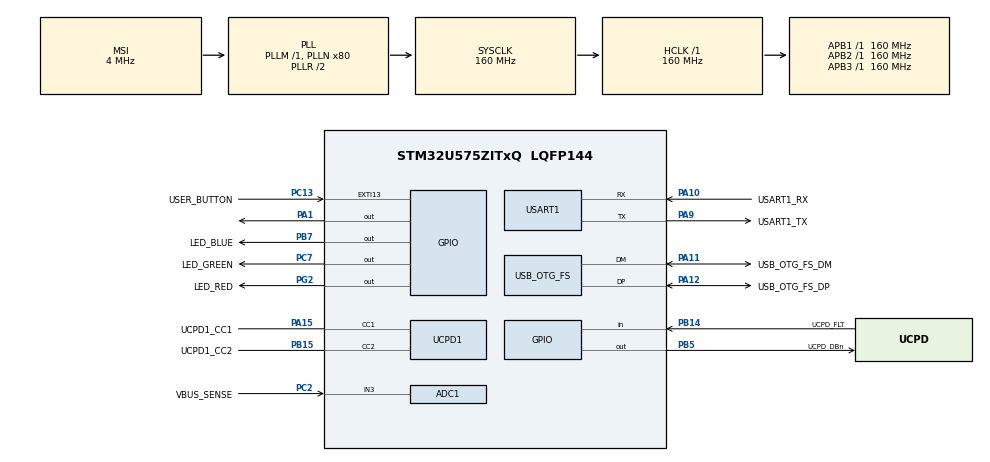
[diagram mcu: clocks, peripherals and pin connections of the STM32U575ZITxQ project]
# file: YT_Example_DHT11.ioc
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ADC1.NbrOfConversion=1
ADC1.Resolution=ADC_RESOLUTION_14B
ADC1.master=1
CORTEX_M33_NS.userName=CORTEX_M33
Mcu.Family=STM32U5
Mcu.Name=STM32U575ZITxQ
Mcu.Package=LQFP144
NVIC.OTG_FS_IRQn=true\:0\:0\:false\:false\:true\:true\:true\:true
NVIC.PriorityGroup=NVIC_PRIORITYGROUP_3
NVIC.USART1_IRQn=true\:0\:0\:false\:false\:true\:true\:true\:true
PA1.Signal=GPIO_Output
PA10.GPIO_Label=USART1_RX
PA10.GPIO_PuPd=GPIO_PULLDOWN
PA10.GPIO_Speed=GPIO_SPEED_FREQ_VERY_HIGH
PA10.Mode=Asynchronous
PA10.Signal=USART1_RX
PA11.GPIO_Label=USB_OTG_FS_DM
PA11.GPIO_Speed=GPIO_SPEED_FREQ_VERY_HIGH
PA11.Mode=Device_Only
PA11.Signal=USB_OTG_FS_DM
PA12.GPIO_Label=USB_OTG_FS_DP
PA12.GPIO_Speed=GPIO_SPEED_FREQ_VERY_HIGH
PA12.Mode=Device_Only
PA12.Signal=USB_OTG_FS_DP
PA13\ (JTMS/SWDIO).Mode=Trace_Asynchronous_SW
PA13\ (JTMS/SWDIO).Signal=DEBUG_JTMS-SWDIO
PA14\ (JTCK/SWCLK).Mode=Trace_Asynchronous_SW
PA14\ (JTCK/SWCLK).Signal=DEBUG_JTCK-SWCLK
PA15\ (JTDI).GPIO_Label=UCPD1_CC1
PA15\ (JTDI).Mode=Sink_AllSignals
PA15\ (JTDI).Signal=UCPD1_CC1
PA9.GPIO_Label=USART1_TX
PA9.GPIO_PuPd=GPIO_PULLDOWN
PA9.GPIO_Speed=GPIO_SPEED_FREQ_VERY_HIGH
PA9.Mode=Asynchronous
PA9.Signal=USART1_TX
PB14.GPIO_Label=UCPD_FLT
PB14.Signal=GPIO_Input
PB15.GPIO_Label=UCPD1_CC2
PB15.Mode=Sink_AllSignals
PB15.Signal=UCPD1_CC2
PB3\ (JTDO/TRACESWO).Mode=Trace_Asynchronous_SW
PB3\ (JTDO/TRACESWO).Signal=DEBUG_JTDO-SWO
PB5.GPIO_Label=UCPD_DBn
PB5.Signal=GPIO_Output
PB7.GPIO_Label=LED_BLUE
PB7.GPIO_ModeDefaultOutputPP=GPIO_MODE_OUTPUT_PP
PB7.GPIO_PuPd=GPIO_PULLUP
PB7.GPIO_Speed=GPIO_SPEED_FREQ_HIGH
PB7.Signal=GPIO_Output
PC13.GPIO_Label=USER_BUTTON
PC13.GPIO_ModeDefaultEXTI=GPIO_MODE_IT_FALLING
PC13.Signal=GPXTI13
PC14-OSC32_IN\ (PC14).Signal=RCC_OSC32_IN
PC15-OSC32_OUT\ (PC15).Signal=RCC_OSC32_OUT
PC2.GPIO_Label=VBUS_SENSE
PC2.Mode=IN3-Single-Ended
PC2.Signal=ADC1_IN3
PC7.GPIO_Label=LED_GREEN
PC7.GPIO_PuPd=GPIO_PULLUP
PC7.GPIO_Speed=GPIO_SPEED_FREQ_HIGH
PC7.Signal=GPIO_Output
PG2.GPIO_Label=LED_RED
PG2.GPIO_ModeDefaultOutputPP=GPIO_MODE_OUTPUT_PP
PG2.GPIO_PuPd=GPIO_PULLUP
PG2.GPIO_Speed=GPIO_SPEED_FREQ_HIGH
PG2.Signal=GPIO_Output
PH0-OSC_IN\ (PH0).Mode=HSE-External-Oscillator
PH0-OSC_IN\ (PH0).Signal=RCC_OSC_IN
PH1-OSC_OUT\ (PH1).Mode=HSE-External-Oscillator
PH1-OSC_OUT\ (PH1).Signal=RCC_OSC_OUT
PWR.PowerMode=PWR_SMPS_SUPPLY
ProjectManager.HeapSize=0x200
ProjectManager.StackSize=0x400
ProjectManager.TargetToolchain=STM32CubeIDE
RCC.ADCFreq_Value=16000000
RCC.AHBFreq_Value=160000000
RCC.APB1Freq_Value=160000000
RCC.APB1TimFreq_Value=160000000
RCC.APB2Freq_Value=160000000
RCC.APB2TimFreq_Value=160000000
RCC.APB3Freq_Value=160000000
RCC.CortexFreq_Value=160000000
RCC.DACCLockSelectionVirtual=RCC_DAC1CLKSOURCE_LSI
RCC.EPOD_VALUE=4000000
RCC.HCLKFreq_Value=160000000
RCC.HSE_VALUE=16000000
RCC.HSI48_VALUE=48000000
RCC.HSI_VALUE=16000000
RCC.LSE_VALUE=32768
RCC.LSIDIV_VALUE=32000
RCC.MSI_VALUE=4000000
RCC.PLL2FRACN=0
RCC.PLL3FRACN=0
RCC.PLLFRACN=0
RCC.PLLN=80
RCC.SYSCLKFreq_VALUE=160000000
RCC.SYSCLKSource=RCC_SYSCLKSOURCE_PLLCLK
RCC.USBFreq_Value=48000000
RCC.VCOOutputFreq_Value=320000000
TIM6.Prescaler=159
USART1.VirtualMode-Asynchronous=VM_ASYNC
USB_OTG_FS.VirtualMode=Device_Only
VP_ICACHE_VS_ENABLE_ICACHE_MEMORY.Mode=Memoryregions
VP_ICACHE_VS_ICACHE.Mode=DirectMappedCache
VP_LPBAMQUEUE_VS_QUEUE.Mode=QUEUEMODE
VP_LPBAM_VS_SIG1.Mode=SmartRun
VP_LPBAM_VS_SIG4.Mode=LPDMA1
VP_MEMORYMAP_VS_MEMORYMAP.Mode=CurAppReg
VP_PWR_VS_DBSignals.Mode=DisableDeadBatterySignals
VP_PWR_VS_LPOM.Mode=PowerOptimisation
VP_PWR_VS_SECSignals.Mode=Security/Privilege
VP_PWR_Vdda.Mode=isolationVdda
VP_TIM6_VS_ClockSourceINT.Mode=Enable_Timer
board=NUCLEO-U575ZI-Q

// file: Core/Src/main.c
/* USER CODE BEGIN Header */
/**
  ******************************************************************************
  * @file           : main.c
  * @brief          : Main program body
  ******************************************************************************
  * @attention
  *
  * Copyright (c) 2024 STMicroelectronics.
  * All rights reserved.
  *
  * This software is licensed under terms that can be found in the LICENSE file
  * in the root directory of this software component.
  * If no LICENSE file comes with this software, it is provided AS-IS.
  *
  ******************************************************************************
  */
/* USER CODE END Header */
#include "main.h"

/* USER CODE BEGIN Includes */
#include <stdio.h>
/* USER CODE END Includes */

ADC_HandleTypeDef hadc1;

TIM_HandleTypeDef htim6;

UART_HandleTypeDef huart1;

PCD_HandleTypeDef hpcd_USB_OTG_FS;

void SystemClock_Config(void);
static void SystemPower_Config(void);
static void MX_GPIO_Init(void);
static void MX_ADC1_Init(void);
static void MX_ICACHE_Init(void);
static void MX_UCPD1_Init(void);
static void MX_USART1_UART_Init(void);
static void MX_USB_OTG_FS_PCD_Init(void);
static void MX_TIM6_Init(void);
/* USER CODE BEGIN PFP */

/* Retargets the C library printf function to the USART. */
#include <stdio.h>
#ifdef __GNUC__
int __io_putchar(int ch)
#else
int fputc(int ch, FILE *f)
#endif
{
    HAL_UART_Transmit(&huart1, (uint8_t *)&ch, 1, 0xFFFF);

    return ch;
}
#ifdef __GNUC__
int _write(int file,char *ptr, int len)
{
    int DataIdx;
    for (DataIdx= 0; DataIdx< len; DataIdx++) {
        __io_putchar(*ptr++);
    }
    return len;
}
#endif

/* USER CODE END PFP */

/* USER CODE BEGIN 0 */

/* Function to create delay in microseconds */
void delay(uint16_t time) {
	__HAL_TIM_SET_COUNTER(&htim6, 0); // set the timer to 0
	while ((__HAL_TIM_GET_COUNTER(&htim6)) < time); // wait until the timer reaches the specified value
}

uint8_t Rh_byte1, Rh_byte2, Temp_byte1, Temp_byte2;
uint16_t SUM, RH, TEMP;

float Temperature = 0;
float Humidity = 0;
uint8_t Presence = 0;

/* Functions to set the Pin as input or output as needed*/
void Set_Pin_Output(GPIO_TypeDef *GPIOx, uint16_t GPIO_Pin) {

	GPIO_InitTypeDef GPIO_InitStruct = {0};
	GPIO_InitStruct.Pin = GPIO_Pin;
	GPIO_InitStruct.Mode = GPIO_MODE_OUTPUT_PP;
	GPIO_InitStruct.Speed = GPIO_SPEED_FREQ_LOW;
	HAL_GPIO_Init(GPIOx, &GPIO_InitStruct);
}

void Set_Pin_Input(GPIO_TypeDef *GPIOx, uint16_t GPIO_Pin) {

	GPIO_InitTypeDef GPIO_InitStruct = {0};
	GPIO_InitStruct.Pin = GPIO_Pin;
	GPIO_InitStruct.Mode = GPIO_MODE_INPUT;
	GPIO_InitStruct.Speed = GPIO_NOPULL; // prova a cambiare in PULLUP se non ricevo dati
	HAL_GPIO_Init(GPIOx, &GPIO_InitStruct);
}

/********************************* DHT11 FUNCTIONS ********************************************/

#define DHT11_PORT GPIOA
#define DHT11_PIN GPIO_PIN_1

void DHT11_Start (void) {
	Set_Pin_Output(DHT11_PORT, DHT11_PIN); // set the pin as output
	HAL_GPIO_WritePin(DHT11_PORT, DHT11_PIN, 0);   // pull the pin low
	delay (18000);   // wait for 18ms
	HAL_GPIO_WritePin(DHT11_PORT, DHT11_PIN, 1); // pull the pin high
	delay(20); // wait for 20us
	Set_Pin_Input(DHT11_PORT, DHT11_PIN);    // set as input
}

uint8_t Check_Response (void) {
	uint8_t Response = 0;
	delay (40);
	if (!(HAL_GPIO_ReadPin (DHT11_PORT, DHT11_PIN)))
	{
		delay (80);
		if ((HAL_GPIO_ReadPin (DHT11_PORT, DHT11_PIN))) Response = 1;
		else Response = -1; // 255
	}
	while ((HAL_GPIO_ReadPin (DHT11_PORT, DHT11_PIN)));   // wait for the pin to go low

	return Response;
}

uint8_t DHT11_Read (void)
{
	uint8_t i,j;
	for (j=0;j<8;j++)
	{
		while (!(HAL_GPIO_ReadPin (DHT11_PORT, DHT11_PIN)));   // wait for the pin to go high
		delay (40);   // wait for 40 us
		if (!(HAL_GPIO_ReadPin (DHT11_PORT, DHT11_PIN)))   // if the pin is low
		{
			i&= ~(1<<(7-j));   // write 0
		}
		else i|= (1<<(7-j));  // if the pin is high, write 1
		while ((HAL_GPIO_ReadPin (DHT11_PORT, DHT11_PIN)));  // wait for the pin to go low
	}
	return i;
}

/* USER CODE END 0 */

int main(void)
{

  /* USER CODE BEGIN 1 */
	/* Turn off buffers, so I/O occurs immediately */
	    setvbuf(stdin, NULL, _IONBF, 0);
	    setvbuf(stdout, NULL, _IONBF, 0);
	    setvbuf(stderr, NULL, _IONBF, 0);
  /* USER CODE END 1 */

  /* MCU Configuration--------------------------------------------------------*/

  /* Reset of all peripherals, Initializes the Flash interface and the Systick. */
  HAL_Init();

  /* Configure the system clock */
  SystemClock_Config();

  /* Configure the System Power */
  SystemPower_Config();

  /* Initialize all configured peripherals */
  MX_GPIO_Init();
  MX_ADC1_Init();
  MX_ICACHE_Init();
  MX_UCPD1_Init();
  MX_USART1_UART_Init();
  MX_USB_OTG_FS_PCD_Init();
  MX_TIM6_Init();
  /* USER CODE BEGIN 2 */
  HAL_TIM_Base_Start(&htim6);
  printf("INITIALISING>>>>\r\n");
  HAL_Delay(2000);
  /* USER CODE END 2 */

  /* Infinite loop */
  while (1)
  {

    /* USER CODE BEGIN 3 */

	  DHT11_Start();
	  Presence = Check_Response();
	  Rh_byte1 = DHT11_Read();
	  Rh_byte2 = DHT11_Read();
	  Temp_byte1 = DHT11_Read();
	  Temp_byte2 = DHT11_Read();
	  SUM = DHT11_Read();

	  TEMP = Temp_byte1;
	  RH = Rh_byte1;
  }
  /* USER CODE END 3 */
}

void SystemClock_Config(void)
{
  RCC_OscInitTypeDef RCC_OscInitStruct = {0};
  RCC_ClkInitTypeDef RCC_ClkInitStruct = {0};

  /** Configure the main internal regulator output voltage
  */
  if (HAL_PWREx_ControlVoltageScaling(PWR_REGULATOR_VOLTAGE_SCALE1) != HAL_OK)
  {
    Error_Handler();
  }

  /** Initializes the CPU, AHB and APB buses clocks
  */
  RCC_OscInitStruct.OscillatorType = RCC_OSCILLATORTYPE_HSI48|RCC_OSCILLATORTYPE_HSI
                              |RCC_OSCILLATORTYPE_MSI;
  RCC_OscInitStruct.HSIState = RCC_HSI_ON;
  RCC_OscInitStruct.HSI48State = RCC_HSI48_ON;
  RCC_OscInitStruct.HSICalibrationValue = RCC_HSICALIBRATION_DEFAULT;
  RCC_OscInitStruct.MSIState = RCC_MSI_ON;
  RCC_OscInitStruct.MSICalibrationValue = RCC_MSICALIBRATION_DEFAULT;
  RCC_OscInitStruct.MSIClockRange = RCC_MSIRANGE_4;
  RCC_OscInitStruct.PLL.PLLState = RCC_PLL_ON;
  RCC_OscInitStruct.PLL.PLLSource = RCC_PLLSOURCE_MSI;
  RCC_OscInitStruct.PLL.PLLMBOOST = RCC_PLLMBOOST_DIV1;
  RCC_OscInitStruct.PLL.PLLM = 1;
  RCC_OscInitStruct.PLL.PLLN = 80;
  RCC_OscInitStruct.PLL.PLLP = 2;
  RCC_OscInitStruct.PLL.PLLQ = 2;
  RCC_OscInitStruct.PLL.PLLR = 2;
  RCC_OscInitStruct.PLL.PLLRGE = RCC_PLLVCIRANGE_0;
  RCC_OscInitStruct.PLL.PLLFRACN = 0;
  if (HAL_RCC_OscConfig(&RCC_OscInitStruct) != HAL_OK)
  {
    Error_Handler();
  }

  /** Initializes the CPU, AHB and APB buses clocks
  */
  RCC_ClkInitStruct.ClockType = RCC_CLOCKTYPE_HCLK|RCC_CLOCKTYPE_SYSCLK
                              |RCC_CLOCKTYPE_PCLK1|RCC_CLOCKTYPE_PCLK2
                              |RCC_CLOCKTYPE_PCLK3;
  RCC_ClkInitStruct.SYSCLKSource = RCC_SYSCLKSOURCE_PLLCLK;
  RCC_ClkInitStruct.AHBCLKDivider = RCC_SYSCLK_DIV1;
  RCC_ClkInitStruct.APB1CLKDivider = RCC_HCLK_DIV1;
  RCC_ClkInitStruct.APB2CLKDivider = RCC_HCLK_DIV1;
  RCC_ClkInitStruct.APB3CLKDivider = RCC_HCLK_DIV1;

  if (HAL_RCC_ClockConfig(&RCC_ClkInitStruct, FLASH_LATENCY_4) != HAL_OK)
  {
    Error_Handler();
  }
}

/**
  * @brief Power Configuration
  * @retval None
  */
static void SystemPower_Config(void)
{
  HAL_PWREx_EnableVddIO2();

  /*
   * Switch to SMPS regulator instead of LDO
   */
  if (HAL_PWREx_ConfigSupply(PWR_SMPS_SUPPLY) != HAL_OK)
  {
    Error_Handler();
  }
}

static void MX_ADC1_Init(void)
{

  /** Common config
  */
  hadc1.Instance = ADC1;
  hadc1.Init.ClockPrescaler = ADC_CLOCK_ASYNC_DIV1;
  hadc1.Init.Resolution = ADC_RESOLUTION_14B;
  hadc1.Init.GainCompensation = 0;
  hadc1.Init.ScanConvMode = ADC_SCAN_DISABLE;
  hadc1.Init.EOCSelection = ADC_EOC_SINGLE_CONV;
  hadc1.Init.LowPowerAutoWait = DISABLE;
  hadc1.Init.ContinuousConvMode = DISABLE;
  hadc1.Init.NbrOfConversion = 1;
  hadc1.Init.DiscontinuousConvMode = DISABLE;
  hadc1.Init.DMAContinuousRequests = DISABLE;
  hadc1.Init.TriggerFrequencyMode = ADC_TRIGGER_FREQ_HIGH;
  hadc1.Init.Overrun = ADC_OVR_DATA_PRESERVED;
  hadc1.Init.LeftBitShift = ADC_LEFTBITSHIFT_NONE;
  hadc1.Init.ConversionDataManagement = ADC_CONVERSIONDATA_DR;
  hadc1.Init.OversamplingMode = DISABLE;
  if (HAL_ADC_Init(&hadc1) != HAL_OK)
  {
    Error_Handler();
  }

}

static void MX_ICACHE_Init(void)
{

  /** Enable instruction cache in 1-way (direct mapped cache)
  */
  if (HAL_ICACHE_ConfigAssociativityMode(ICACHE_1WAY) != HAL_OK)
  {
    Error_Handler();
  }
  if (HAL_ICACHE_Enable() != HAL_OK)
  {
    Error_Handler();
  }

}

static void MX_TIM6_Init(void)
{

  TIM_MasterConfigTypeDef sMasterConfig = {0};

  htim6.Instance = TIM6;
  htim6.Init.Prescaler = 159;
  htim6.Init.CounterMode = TIM_COUNTERMODE_UP;
  htim6.Init.Period = 65535;
  htim6.Init.AutoReloadPreload = TIM_AUTORELOAD_PRELOAD_DISABLE;
  if (HAL_TIM_Base_Init(&htim6) != HAL_OK)
  {
    Error_Handler();
  }
  sMasterConfig.MasterOutputTrigger = TIM_TRGO_RESET;
  sMasterConfig.MasterSlaveMode = TIM_MASTERSLAVEMODE_DISABLE;
  if (HAL_TIMEx_MasterConfigSynchronization(&htim6, &sMasterConfig) != HAL_OK)
  {
    Error_Handler();
  }

}

static void MX_UCPD1_Init(void)
{

  LL_GPIO_InitTypeDef GPIO_InitStruct = {0};

  /* Peripheral clock enable */
  LL_APB1_GRP2_EnableClock(LL_APB1_GRP2_PERIPH_UCPD1);

  LL_AHB2_GRP1_EnableClock(LL_AHB2_GRP1_PERIPH_GPIOB);
  LL_AHB2_GRP1_EnableClock(LL_AHB2_GRP1_PERIPH_GPIOA);
  /**UCPD1 GPIO Configuration
  PB15   ------> UCPD1_CC2
  PA15 (JTDI)   ------> UCPD1_CC1
  */
  GPIO_InitStruct.Pin = LL_GPIO_PIN_15;
  GPIO_InitStruct.Mode = LL_GPIO_MODE_ANALOG;
  GPIO_InitStruct.Pull = LL_GPIO_PULL_NO;
  LL_GPIO_Init(GPIOB, &GPIO_InitStruct);

  GPIO_InitStruct.Pin = LL_GPIO_PIN_15;
  GPIO_InitStruct.Mode = LL_GPIO_MODE_ANALOG;
  GPIO_InitStruct.Pull = LL_GPIO_PULL_NO;
  LL_GPIO_Init(GPIOA, &GPIO_InitStruct);

}

static void MX_USART1_UART_Init(void)
{

  huart1.Instance = USART1;
  huart1.Init.BaudRate = 115200;
  huart1.Init.WordLength = UART_WORDLENGTH_8B;
  huart1.Init.StopBits = UART_STOPBITS_1;
  huart1.Init.Parity = UART_PARITY_NONE;
  huart1.Init.Mode = UART_MODE_TX_RX;
  huart1.Init.HwFlowCtl = UART_HWCONTROL_NONE;
  huart1.Init.OverSampling = UART_OVERSAMPLING_16;
  huart1.Init.OneBitSampling = UART_ONE_BIT_SAMPLE_DISABLE;
  huart1.Init.ClockPrescaler = UART_PRESCALER_DIV1;
  huart1.AdvancedInit.AdvFeatureInit = UART_ADVFEATURE_NO_INIT;
  if (HAL_UART_Init(&huart1) != HAL_OK)
  {
    Error_Handler();
  }
  if (HAL_UARTEx_SetTxFifoThreshold(&huart1, UART_TXFIFO_THRESHOLD_1_8) != HAL_OK)
  {
    Error_Handler();
  }
  if (HAL_UARTEx_SetRxFifoThreshold(&huart1, UART_RXFIFO_THRESHOLD_1_8) != HAL_OK)
  {
    Error_Handler();
  }
  if (HAL_UARTEx_DisableFifoMode(&huart1) != HAL_OK)
  {
    Error_Handler();
  }

}

static void MX_USB_OTG_FS_PCD_Init(void)
{

  hpcd_USB_OTG_FS.Instance = USB_OTG_FS;
  hpcd_USB_OTG_FS.Init.dev_endpoints = 6;
  hpcd_USB_OTG_FS.Init.speed = PCD_SPEED_FULL;
  hpcd_USB_OTG_FS.Init.phy_itface = PCD_PHY_EMBEDDED;
  hpcd_USB_OTG_FS.Init.Sof_enable = DISABLE;
  hpcd_USB_OTG_FS.Init.low_power_enable = DISABLE;
  hpcd_USB_OTG_FS.Init.lpm_enable = DISABLE;
  hpcd_USB_OTG_FS.Init.battery_charging_enable = DISABLE;
  hpcd_USB_OTG_FS.Init.use_dedicated_ep1 = DISABLE;
  hpcd_USB_OTG_FS.Init.vbus_sensing_enable = DISABLE;
  hpcd_USB_OTG_FS.Init.dma_enable = DISABLE;
  if (HAL_PCD_Init(&hpcd_USB_OTG_FS) != HAL_OK)
  {
    Error_Handler();
  }

}

static void MX_GPIO_Init(void)
{
  GPIO_InitTypeDef GPIO_InitStruct = {0};

  /* GPIO Ports Clock Enable */
  __HAL_RCC_GPIOC_CLK_ENABLE();
  __HAL_RCC_GPIOH_CLK_ENABLE();
  __HAL_RCC_GPIOA_CLK_ENABLE();
  __HAL_RCC_GPIOB_CLK_ENABLE();
  __HAL_RCC_GPIOG_CLK_ENABLE();

  /*Configure GPIO pin Output Level */
  HAL_GPIO_WritePin(GPIOA, GPIO_PIN_1, GPIO_PIN_RESET);

  /*Configure GPIO pin Output Level */
  HAL_GPIO_WritePin(LED_RED_GPIO_Port, LED_RED_Pin, GPIO_PIN_RESET);

  /*Configure GPIO pin Output Level */
  HAL_GPIO_WritePin(LED_GREEN_GPIO_Port, LED_GREEN_Pin, GPIO_PIN_RESET);

  /*Configure GPIO pin Output Level */
  HAL_GPIO_WritePin(GPIOB, UCPD_DBn_Pin|LED_BLUE_Pin, GPIO_PIN_RESET);

  /*Configure GPIO pin : USER_BUTTON_Pin */
  GPIO_InitStruct.Pin = USER_BUTTON_Pin;
  GPIO_InitStruct.Mode = GPIO_MODE_IT_FALLING;
  GPIO_InitStruct.Pull = GPIO_NOPULL;
  HAL_GPIO_Init(USER_BUTTON_GPIO_Port, &GPIO_InitStruct);

  /*Configure GPIO pin : PA1 */
  GPIO_InitStruct.Pin = GPIO_PIN_1;
  GPIO_InitStruct.Mode = GPIO_MODE_OUTPUT_PP;
  GPIO_InitStruct.Pull = GPIO_NOPULL;
  GPIO_InitStruct.Speed = GPIO_SPEED_FREQ_LOW;
  HAL_GPIO_Init(GPIOA, &GPIO_InitStruct);

  /*Configure GPIO pin : UCPD_FLT_Pin */
  GPIO_InitStruct.Pin = UCPD_FLT_Pin;
  GPIO_InitStruct.Mode = GPIO_MODE_INPUT;
  GPIO_InitStruct.Pull = GPIO_NOPULL;
  HAL_GPIO_Init(UCPD_FLT_GPIO_Port, &GPIO_InitStruct);

  /*Configure GPIO pin : LED_RED_Pin */
  GPIO_InitStruct.Pin = LED_RED_Pin;
  GPIO_InitStruct.Mode = GPIO_MODE_OUTPUT_PP;
  GPIO_InitStruct.Pull = GPIO_PULLUP;
  GPIO_InitStruct.Speed = GPIO_SPEED_FREQ_HIGH;
  HAL_GPIO_Init(LED_RED_GPIO_Port, &GPIO_InitStruct);

  /*Configure GPIO pin : LED_GREEN_Pin */
  GPIO_InitStruct.Pin = LED_GREEN_Pin;
  GPIO_InitStruct.Mode = GPIO_MODE_OUTPUT_PP;
  GPIO_InitStruct.Pull = GPIO_PULLUP;
  GPIO_InitStruct.Speed = GPIO_SPEED_FREQ_HIGH;
  HAL_GPIO_Init(LED_GREEN_GPIO_Port, &GPIO_InitStruct);

  /*Configure GPIO pin : UCPD_DBn_Pin */
  GPIO_InitStruct.Pin = UCPD_DBn_Pin;
  GPIO_InitStruct.Mode = GPIO_MODE_OUTPUT_PP;
  GPIO_InitStruct.Pull = GPIO_NOPULL;
  GPIO_InitStruct.Speed = GPIO_SPEED_FREQ_LOW;
  HAL_GPIO_Init(UCPD_DBn_GPIO_Port, &GPIO_InitStruct);

  /*Configure GPIO pin : LED_BLUE_Pin */
  GPIO_InitStruct.Pin = LED_BLUE_Pin;
  GPIO_InitStruct.Mode = GPIO_MODE_OUTPUT_PP;
  GPIO_InitStruct.Pull = GPIO_PULLUP;
  GPIO_InitStruct.Speed = GPIO_SPEED_FREQ_HIGH;
  HAL_GPIO_Init(LED_BLUE_GPIO_Port, &GPIO_InitStruct);

}

void Error_Handler(void)
{
  __disable_irq();
  while (1)
  {
  }
}
